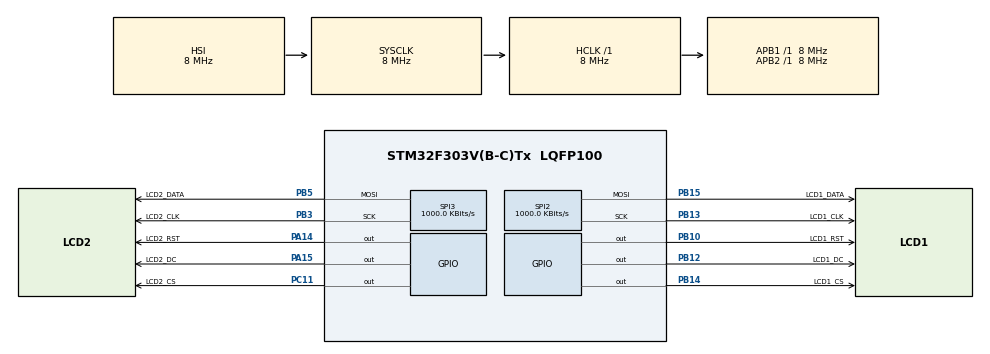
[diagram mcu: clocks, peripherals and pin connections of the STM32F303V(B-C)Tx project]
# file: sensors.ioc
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Mcu.Family=STM32F3
Mcu.Name=STM32F303V(B-C)Tx
Mcu.Package=LQFP100
NVIC.PriorityGroup=NVIC_PRIORITYGROUP_4
PA14.GPIO_Label=LCD2_RST
PA14.Signal=GPIO_Output
PA15.GPIO_Label=LCD2_DC
PA15.Signal=GPIO_Output
PB10.GPIO_Label=LCD1_RST
PB10.Signal=GPIO_Output
PB12.GPIO_Label=LCD1_DC
PB12.Signal=GPIO_Output
PB13.GPIO_Label=LCD1_CLK
PB13.Mode=TX_Only_Simplex_Unidirect_Master
PB13.Signal=SPI2_SCK
PB14.GPIO_Label=LCD1_CS
PB14.Signal=GPIO_Output
PB15.GPIO_Label=LCD1_DATA
PB15.Mode=TX_Only_Simplex_Unidirect_Master
PB15.Signal=SPI2_MOSI
PB3.GPIO_Label=LCD2_CLK
PB3.Mode=TX_Only_Simplex_Unidirect_Master
PB3.Signal=SPI3_SCK
PB5.GPIO_Label=LCD2_DATA
PB5.Mode=TX_Only_Simplex_Unidirect_Master
PB5.Signal=SPI3_MOSI
PC11.GPIO_Label=LCD2_CS
PC11.Signal=GPIO_Output
ProjectManager.HeapSize=0x200
ProjectManager.StackSize=0x400
ProjectManager.TargetToolchain=SW4STM32
RCC.AHBFreq_Value=8000000
RCC.APB1Freq_Value=8000000
RCC.APB2Freq_Value=8000000
RCC.CortexFreq_Value=8000000
RCC.HSE_VALUE=8000000
RCC.HSI_VALUE=8000000
RCC.LSE_VALUE=32768
RCC.SYSCLKFreq_VALUE=8000000
SPI2.BaudRatePrescaler=SPI_BAUDRATEPRESCALER_8
SPI2.CalculateBaudRate=1000.0 KBits/s
SPI2.DataSize=SPI_DATASIZE_8BIT
SPI2.Direction=SPI_DIRECTION_2LINES
SPI2.Mode=SPI_MODE_MASTER
SPI2.VirtualType=VM_MASTER
SPI3.BaudRatePrescaler=SPI_BAUDRATEPRESCALER_8
SPI3.CalculateBaudRate=1000.0 KBits/s
SPI3.DataSize=SPI_DATASIZE_8BIT
SPI3.Direction=SPI_DIRECTION_2LINES
SPI3.Mode=SPI_MODE_MASTER
SPI3.VirtualType=VM_MASTER
board=custom

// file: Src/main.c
/**
  ******************************************************************************
  * @file           : main.c
  * @brief          : Main program body
  ******************************************************************************
  ** This notice applies to any and all portions of this file
  * that are not between comment pairs USER CODE BEGIN and
  * USER CODE END. Other portions of this file, whether
  * inserted by the user or by software development tools
  * are owned by their respective copyright owners.
  *
  * COPYRIGHT(c) 2018 STMicroelectronics
  *
  * Redistribution and use in source and binary forms, with or without modification,
  * are permitted provided that the following conditions are met:
  *   1. Redistributions of source code must retain the above copyright notice,
  *      this list of conditions and the following disclaimer.
  *   2. Redistributions in binary form must reproduce the above copyright notice,
  *      this list of conditions and the following disclaimer in the documentation
  *      and/or other materials provided with the distribution.
  *   3. Neither the name of STMicroelectronics nor the names of its contributors
  *      may be used to endorse or promote products derived from this software
  *      without specific prior written permission.
  *
  * THIS SOFTWARE IS PROVIDED BY THE COPYRIGHT HOLDERS AND CONTRIBUTORS "AS IS"
  * AND ANY EXPRESS OR IMPLIED WARRANTIES, INCLUDING, BUT NOT LIMITED TO, THE
  * IMPLIED WARRANTIES OF MERCHANTABILITY AND FITNESS FOR A PARTICULAR PURPOSE ARE
  * DISCLAIMED. IN NO EVENT SHALL THE COPYRIGHT HOLDER OR CONTRIBUTORS BE LIABLE
  * FOR ANY DIRECT, INDIRECT, INCIDENTAL, SPECIAL, EXEMPLARY, OR CONSEQUENTIAL
  * DAMAGES (INCLUDING, BUT NOT LIMITED TO, PROCUREMENT OF SUBSTITUTE GOODS OR
  * SERVICES; LOSS OF USE, DATA, OR PROFITS; OR BUSINESS INTERRUPTION) HOWEVER
  * CAUSED AND ON ANY THEORY OF LIABILITY, WHETHER IN CONTRACT, STRICT LIABILITY,
  * OR TORT (INCLUDING NEGLIGENCE OR OTHERWISE) ARISING IN ANY WAY OUT OF THE USE
  * OF THIS SOFTWARE, EVEN IF ADVISED OF THE POSSIBILITY OF SUCH DAMAGE.
  *
  ******************************************************************************
  */
#include "main.h"
#include "stm32f3xx_hal.h"
#include "spi.h"
#include "gpio.h"

/* USER CODE BEGIN Includes */
#include <math.h>

#include "lcd5110.h"
#include "stm32f3_discovery_accelerometer.h"
#include "stm32f3_discovery_gyroscope.h"

/* USER CODE END Includes */

/* USER CODE BEGIN PV */
/* Private variables ---------------------------------------------------------*/

/* USER CODE END PV */

void SystemClock_Config(void);

/* USER CODE BEGIN PFP */
/* Private function prototypes -----------------------------------------------*/

/* USER CODE END PFP */

/* USER CODE BEGIN 0 */
LCD5110_display lcd1;
LCD5110_display lcd2;
//LCD5110_display lcd3;

// clear screen and print some text on it
void print_lcd(LCD5110_display* lcd, char msg[]) {
  LCD5110_clear_scr(lcd);
  LCD5110_set_cursor(2, 2, lcd);
  LCD5110_print(msg, BLACK, lcd);
  LCD5110_refresh(lcd);
}

// structure for three-demential point
typedef struct {
    double x;
    double y;
    double z;
} POINT_3D;

// structure for representation sensor's data - current and maximum ones
typedef struct {
    POINT_3D point;
    double length;
    double max_length;
    POINT_3D max_point;
} data_vector_t;

// count vector's length and set vector with maximum length
void data_vector_count_length(data_vector_t* data_vector) {
    double x = data_vector->point.x;
    double y = data_vector->point.y;
    double z = data_vector->point.z;
    double new_length = sqrt(x*x + y*y + z*z);
    if (new_length > data_vector->max_length) {
        data_vector->max_length = new_length;
        data_vector->max_point = data_vector->point;
    }
    data_vector->length = new_length;
}

// save data from accelerometer to vector in g(9.8) per second
void data_vector_save_accelero_data_in_g_per_second(data_vector_t* accelero_data, int16_t* buffer_accelero) {
    accelero_data->point.x = (double)(buffer_accelero[0] >> 4) / 1000.0;
    accelero_data->point.y = (double)(buffer_accelero[1] >> 4) / 1000.0;
    accelero_data->point.z = (double)(buffer_accelero[2] >> 4) / 1000.0;
}

// save data from gyroscope to vector in degrees per second
void data_vector_save_gyro_data_in_degrees_per_second(data_vector_t* gyro_data, float* buffer_gyro) {
    gyro_data->point.x = (double)(buffer_gyro[0]) / 1000;
    gyro_data->point.y = (double)(buffer_gyro[1]) / 1000;
    gyro_data->point.z = (double)(buffer_gyro[2]) / 1000;
}

data_vector_t accelero_data;
data_vector_t gyro_data;
/* USER CODE END 0 */

int main(void)
{

  /* MCU Configuration----------------------------------------------------------*/

  /* Reset of all peripherals, Initializes the Flash interface and the Systick. */
  HAL_Init();

  /* Configure the system clock */
  SystemClock_Config();

  /* Initialize all configured peripherals */
  MX_GPIO_Init();
  MX_SPI2_Init();
  MX_SPI3_Init();
  /* USER CODE BEGIN 2 */
  lcd1.hw_conf.spi_handle = &hspi2;
  lcd1.hw_conf.spi_cs_pin = LCD1_CS_Pin;
  lcd1.hw_conf.spi_cs_port = LCD1_CS_GPIO_Port;
  lcd1.hw_conf.rst_pin = LCD1_RST_Pin;
  lcd1.hw_conf.rst_port = LCD1_RST_GPIO_Port;
  lcd1.hw_conf.dc_pin = LCD1_DC_Pin;
  lcd1.hw_conf.dc_port = LCD1_DC_GPIO_Port;
  lcd1.def_scr = lcd5110_def_scr;

  LCD5110_init(&lcd1.hw_conf, LCD5110_INVERTED_MODE, 0x40, 2, 3);

  lcd2.hw_conf.spi_handle = &hspi3;
  lcd2.hw_conf.spi_cs_pin = LCD2_CS_Pin;
  lcd2.hw_conf.spi_cs_port = LCD2_CS_GPIO_Port;
  lcd2.hw_conf.rst_pin = LCD2_RST_Pin;
  lcd2.hw_conf.rst_port = LCD2_RST_GPIO_Port;
  lcd2.hw_conf.dc_pin = LCD2_DC_Pin;
  lcd2.hw_conf.dc_port = LCD2_DC_GPIO_Port;
  lcd2.def_scr = lcd5110_def_scr;

  LCD5110_init(&lcd2.hw_conf, LCD5110_INVERTED_MODE, 0x40, 2, 3);

  accelero_data.max_length = -INFINITY;
  gyro_data.max_length = -INFINITY;

  if (BSP_ACCELERO_Init() != HAL_OK)
  {
      /* Initialization Error */
      print_lcd(&lcd1, "Error initializing HAL.");
      while(1){}
  }

  if (BSP_GYRO_Init() != HAL_OK) {
      print_lcd(&lcd2, "Error initializing HAL.");
      while(1){}
  }

  /* USER CODE END 2 */

  /* Infinite loop */
  /* USER CODE BEGIN WHILE */
  int16_t buffer_accelero[3] = {0};
  float buffer_gyro[3] = {0};

  while (1)
  {
//  read & process data from accelerometer
      BSP_ACCELERO_GetXYZ(buffer_accelero);
      data_vector_save_accelero_data_in_g_per_second(&accelero_data, &buffer_accelero);
      data_vector_count_length(&accelero_data);

//  print it
      LCD5110_printf(&lcd1, BLACK, "cur:    max:\n"
                                  "%7.3f %6.3f\n"
                                  "%7.3f %6.3f\n"
                                  "%7.3f %6.3f\n"
                                  "len: %g\n",
                     accelero_data.point.x,
                     accelero_data.max_point.x,
                     accelero_data.point.y,
                     accelero_data.max_point.y,
                     accelero_data.point.z,
                     accelero_data.max_point.z,
                     accelero_data.length
      );

//  read & process data from gyroscope
      BSP_GYRO_GetXYZ(buffer_gyro);
      data_vector_save_gyro_data_in_degrees_per_second(&gyro_data, &buffer_gyro);
      data_vector_count_length(&gyro_data);

//  print it
      LCD5110_printf(&lcd2, BLACK, "cur:    max:\n"
                                   "%6.1f %6.1f\n"
                                   "%6.1f %6.1f\n"
                                   "%6.1f %6.1f\n"
                                   "len: %g\n",
                     gyro_data.point.x,
                     gyro_data.max_point.x,
                     gyro_data.point.y,
                     gyro_data.max_point.y,
                     gyro_data.point.z,
                     gyro_data.max_point.z,
                     gyro_data.length
      );

      HAL_Delay(1000);

//      break;
  /* USER CODE END WHILE */

  }

}

void SystemClock_Config(void)
{

  RCC_OscInitTypeDef RCC_OscInitStruct;
  RCC_ClkInitTypeDef RCC_ClkInitStruct;

    /**Initializes the CPU, AHB and APB busses clocks
    */
  RCC_OscInitStruct.OscillatorType = RCC_OSCILLATORTYPE_HSI;
  RCC_OscInitStruct.HSIState = RCC_HSI_ON;
  RCC_OscInitStruct.HSICalibrationValue = 16;
  RCC_OscInitStruct.PLL.PLLState = RCC_PLL_NONE;
  if (HAL_RCC_OscConfig(&RCC_OscInitStruct) != HAL_OK)
  {
    _Error_Handler(__FILE__, __LINE__);
  }

    /**Initializes the CPU, AHB and APB busses clocks
    */
  RCC_ClkInitStruct.ClockType = RCC_CLOCKTYPE_HCLK|RCC_CLOCKTYPE_SYSCLK
                              |RCC_CLOCKTYPE_PCLK1|RCC_CLOCKTYPE_PCLK2;
  RCC_ClkInitStruct.SYSCLKSource = RCC_SYSCLKSOURCE_HSI;
  RCC_ClkInitStruct.AHBCLKDivider = RCC_SYSCLK_DIV1;
  RCC_ClkInitStruct.APB1CLKDivider = RCC_HCLK_DIV1;
  RCC_ClkInitStruct.APB2CLKDivider = RCC_HCLK_DIV1;

  if (HAL_RCC_ClockConfig(&RCC_ClkInitStruct, FLASH_LATENCY_0) != HAL_OK)
  {
    _Error_Handler(__FILE__, __LINE__);
  }

    /**Configure the Systick interrupt time
    */
  HAL_SYSTICK_Config(HAL_RCC_GetHCLKFreq()/1000);

    /**Configure the Systick
    */
  HAL_SYSTICK_CLKSourceConfig(SYSTICK_CLKSOURCE_HCLK);

  /* SysTick_IRQn interrupt configuration */
  HAL_NVIC_SetPriority(SysTick_IRQn, 0, 0);
}

void _Error_Handler(char *file, int line)
{
  while(1)
  {
  }
}

/************************ (C) COPYRIGHT STMicroelectronics *****END OF FILE****/
